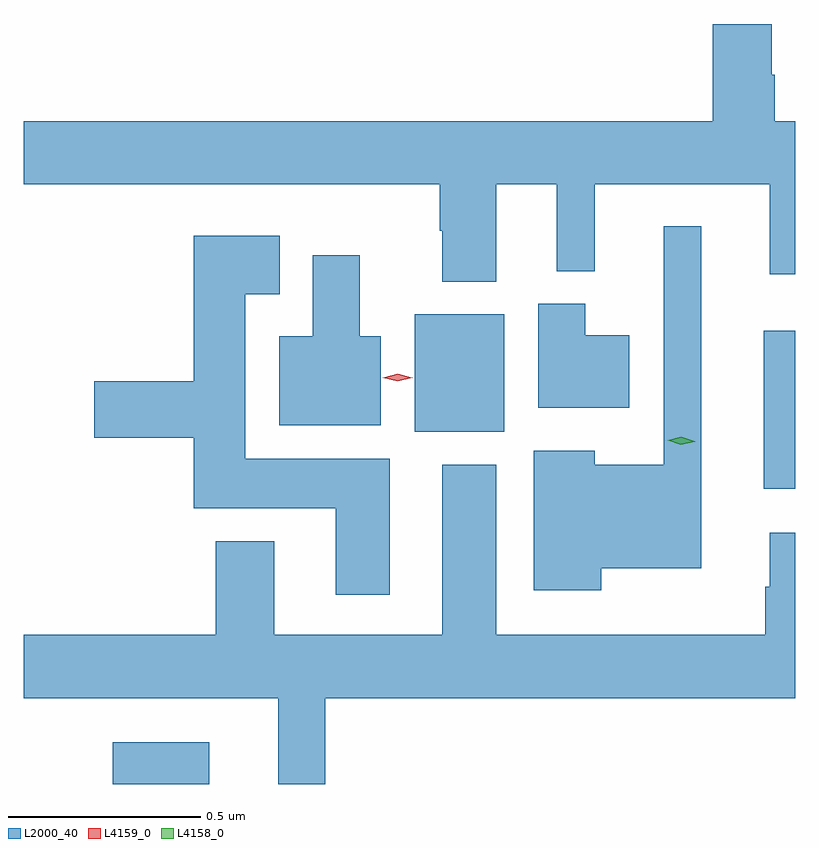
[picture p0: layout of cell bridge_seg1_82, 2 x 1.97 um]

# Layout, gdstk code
import gdstk
lib = gdstk.Library(unit=1e-6, precision=1e-09)
def R(c, l, rs):  # rectangles x0, y0, x1, y1
    for r in rs: c.add(gdstk.rectangle(r[:2], r[2:], *l))
def P(c, l, *ps):  # polygons
    for p in ps: c.add(gdstk.Polygon(p, *l))
L2000_40 = (2000, 40)
L4158_0 = (4158, 0)
L4159_0 = (4159, 0)

bridge_seg1_82 = lib.new_cell('bridge_seg1_82')
R(bridge_seg1_82, L2000_40, [(546.092,519.541,546.343,519.649), (547.781,520.307,547.862,520.717), (546.875,520.454,547.108,520.759)])
P(bridge_seg1_82, L2000_40, [(547.087,521.096),(547.244,521.096),(547.244,520.871),(547.343,520.871),(547.343,521.096),(547.796,521.096),(547.796,520.863),(547.862,520.863),(547.862,521.26),(547.809,521.26),(547.809,521.381),(547.801,521.381),(547.801,521.512),(547.649,521.512),(547.649,521.26),(545.862,521.26),(545.862,521.096),(546.94,521.096),(546.94,520.976),(546.947,520.976),(546.947,520.844),(547.087,520.844)],
  [(547.359,520.1),(547.618,520.1),(547.618,520.987),(547.521,520.987),(547.521,520.369),(547.342,520.369),(547.342,520.405),(547.184,520.405),(547.184,520.043),(547.359,520.043)],
  [(546.811,520.384),(546.436,520.384),(546.436,520.811),(546.526,520.811),(546.526,520.963),(546.302,520.963),(546.302,520.586),(546.045,520.586),(546.045,520.439),(546.302,520.439),(546.302,520.256),(546.671,520.256),(546.671,520.032),(546.811,520.032)],
  [(546.787,520.702),(546.733,520.702),(546.733,520.912),(546.611,520.912),(546.611,520.702),(546.524,520.702),(546.524,520.472),(546.787,520.472)],
  [(547.432,520.705),(547.318,520.705),(547.318,520.786),(547.196,520.786),(547.196,520.517),(547.432,520.517)],
  [(547.862,520.192),(547.796,520.192),(547.796,520.052),(547.785,520.052),(547.785,519.928),(547.087,519.928),(547.087,520.369),(546.947,520.369),(546.947,519.928),(546.511,519.928),(546.511,520.171),(546.359,520.171),(546.359,519.928),(545.862,519.928),(545.862,519.764),(546.521,519.764),(546.521,519.541),(546.643,519.541),(546.643,519.764),(547.862,519.764)])
P(bridge_seg1_82, L4158_0, [(547.566,520.421),(547.532,520.433),(547.531,520.433),(547.532,520.433),(547.567,520.441),(547.602,520.43),(547.603,520.429),(547.602,520.429)])
P(bridge_seg1_82, L4159_0, [(546.831,520.585),(546.792,520.595),(546.792,520.595),(546.792,520.595),(546.831,520.605),(546.869,520.595),(546.87,520.595),(546.869,520.595)])

lib.write_gds('bridge_seg1_82.gds')
